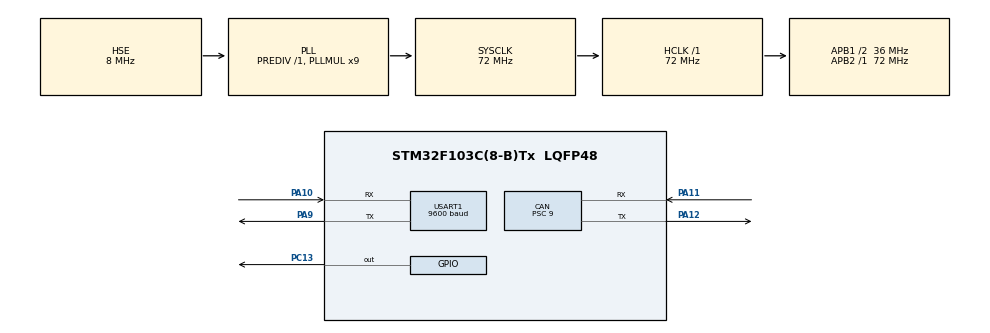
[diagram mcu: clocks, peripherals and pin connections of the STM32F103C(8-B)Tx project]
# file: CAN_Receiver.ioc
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CAN.BS1=CAN_BS1_6TQ
CAN.CalculateBaudRate=500000
CAN.CalculateTimeBit=2000
CAN.CalculateTimeQuantum=250.0
CAN.Prescaler=9
Mcu.Family=STM32F1
Mcu.Name=STM32F103C(8-B)Tx
Mcu.Package=LQFP48
NVIC.PriorityGroup=NVIC_PRIORITYGROUP_4
NVIC.USB_LP_CAN1_RX0_IRQn=true\:0\:0\:false\:false\:true\:true\:true\:true
PA10.Mode=Asynchronous
PA10.Signal=USART1_RX
PA11.Mode=CAN_Activate
PA11.Signal=CAN_RX
PA12.Mode=CAN_Activate
PA12.Signal=CAN_TX
PA9.Mode=Asynchronous
PA9.Signal=USART1_TX
PC13-TAMPER-RTC.Signal=GPIO_Output
PD0-OSC_IN.Mode=HSE-External-Oscillator
PD0-OSC_IN.Signal=RCC_OSC_IN
PD1-OSC_OUT.Mode=HSE-External-Oscillator
PD1-OSC_OUT.Signal=RCC_OSC_OUT
ProjectManager.HeapSize=0x200
ProjectManager.StackSize=0x400
ProjectManager.TargetToolchain=STM32CubeIDE
RCC.AHBFreq_Value=72000000
RCC.APB1CLKDivider=RCC_HCLK_DIV2
RCC.APB1Freq_Value=36000000
RCC.APB1TimFreq_Value=72000000
RCC.APB2Freq_Value=72000000
RCC.APB2TimFreq_Value=72000000
RCC.HCLKFreq_Value=72000000
RCC.PLLMUL=RCC_PLL_MUL9
RCC.PLLSourceVirtual=RCC_PLLSOURCE_HSE
RCC.SYSCLKFreq_VALUE=72000000
RCC.SYSCLKSource=RCC_SYSCLKSOURCE_PLLCLK
RCC.USBFreq_Value=72000000
USART1.BaudRate=9600
USART1.VirtualMode=VM_ASYNC
VP_SYS_VS_ND.Mode=No_Debug
board=custom

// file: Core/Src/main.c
/* USER CODE BEGIN Header */
/**
  ******************************************************************************
  * @file    main.c
  * @brief   CAN 接收端 (500kbps, IDLIST 过滤 0x100)
  * @date    2026-08-04
  *
  * @hardware  STM32F103C8T6 + SN65HVD230
  * @clock     HSE 8MHz → PLL ×9 → 72MHz, APB1 = 36MHz
  * @baudrate  500 kbps (Prescaler=9, BS1=6, BS2=1)
  * @filter    IDLIST, 仅接收标准 ID 0x100
  * @debug     USART1 115200-8-N-1
  *
  * @note      PA13/PA14 务必保持 Serial Wire 模式，否则 SWD 接口会被锁死
  ******************************************************************************
  */
/* USER CODE END Header */
#include "main.h"
#include "can.h"
#include "usart.h"
#include "gpio.h"
#include <stdio.h>

void SystemClock_Config(void);

int main(void)
{

  /* MCU Configuration--------------------------------------------------------*/

  /* Reset of all peripherals, Initializes the Flash interface and the Systick. */
  HAL_Init();

  /* Configure the system clock */
  SystemClock_Config();

  /* Initialize all configured peripherals */
  MX_GPIO_Init();
  MX_CAN_Init();
  MX_USART1_UART_Init();
  /* USER CODE BEGIN 2 */

  // 配置 CAN 过滤器：接收所有ID（全通）
  CAN_FilterTypeDef sFilterConfig;
  sFilterConfig.FilterBank = 0;
  sFilterConfig.FilterMode = CAN_FILTERMODE_IDMASK;
  sFilterConfig.FilterScale = CAN_FILTERSCALE_32BIT;
  sFilterConfig.FilterIdHigh = 0x0000;
  sFilterConfig.FilterIdLow = 0x0000;
  sFilterConfig.FilterMaskIdHigh = 0x0000;
  sFilterConfig.FilterMaskIdLow = 0x0000;
  sFilterConfig.FilterFIFOAssignment = CAN_RX_FIFO0;
  sFilterConfig.FilterActivation = ENABLE;
  if (HAL_CAN_ConfigFilter(&hcan, &sFilterConfig) != HAL_OK) {
      Error_Handler();
  }

  // 启动CAN外设
  if (HAL_CAN_Start(&hcan) != HAL_OK) {
      Error_Handler();
  }

  // 使能接收中断
  if (HAL_CAN_ActivateNotification(&hcan, CAN_IT_RX_FIFO0_MSG_PENDING) != HAL_OK) {
      Error_Handler();
  }

  // 串口首屏打印（验证串口活着）
  char startMsg[] = "CAN Receiver Ready\r\n";
  HAL_UART_Transmit(&huart1, (uint8_t*)startMsg, sizeof(startMsg)-1, 100);

  /* USER CODE END 2 */

  /* Infinite loop */
  while (1)
  {

    /* USER CODE BEGIN 3 */
    // 主循环什么都不做
  }
  /* USER CODE END 3 */
}

void SystemClock_Config(void)
{
  RCC_OscInitTypeDef RCC_OscInitStruct = {0};
  RCC_ClkInitTypeDef RCC_ClkInitStruct = {0};

  // 使用外部 HSE 晶振（8MHz）
  RCC_OscInitStruct.OscillatorType = RCC_OSCILLATORTYPE_HSE;
  RCC_OscInitStruct.HSEState = RCC_HSE_ON;
  RCC_OscInitStruct.HSEPredivValue = RCC_HSE_PREDIV_DIV1;
  RCC_OscInitStruct.HSIState = RCC_HSI_ON;
  RCC_OscInitStruct.PLL.PLLState = RCC_PLL_ON;
  RCC_OscInitStruct.PLL.PLLSource = RCC_PLLSOURCE_HSE;
  RCC_OscInitStruct.PLL.PLLMUL = RCC_PLL_MUL9;  // 8MHz * 9 = 72MHz
  if (HAL_RCC_OscConfig(&RCC_OscInitStruct) != HAL_OK)
  {
    Error_Handler();
  }

  RCC_ClkInitStruct.ClockType = RCC_CLOCKTYPE_HCLK | RCC_CLOCKTYPE_SYSCLK
                              | RCC_CLOCKTYPE_PCLK1 | RCC_CLOCKTYPE_PCLK2;
  RCC_ClkInitStruct.SYSCLKSource = RCC_SYSCLKSOURCE_PLLCLK;
  RCC_ClkInitStruct.AHBCLKDivider = RCC_SYSCLK_DIV1;
  RCC_ClkInitStruct.APB1CLKDivider = RCC_HCLK_DIV2;
  RCC_ClkInitStruct.APB2CLKDivider = RCC_HCLK_DIV1;

  if (HAL_RCC_ClockConfig(&RCC_ClkInitStruct, FLASH_LATENCY_2) != HAL_OK)
  {
    Error_Handler();
  }
}

/* USER CODE BEGIN 4 */

/**
  * @brief CAN接收回调函数
  */
void HAL_CAN_RxFifo0MsgPendingCallback(CAN_HandleTypeDef *hcan)
{
    CAN_RxHeaderTypeDef RxHeader;
    uint8_t RxData[8];

    HAL_CAN_GetRxMessage(hcan, CAN_RX_FIFO0, &RxHeader, RxData);

    HAL_GPIO_TogglePin(GPIOC, GPIO_PIN_13);

    char buf[64];
    int len = sprintf(buf, "ID:0x%03lX Data:%02X %02X %02X %02X %02X %02X %02X %02X\r\n",
                      (unsigned long)RxHeader.StdId,
                      RxData[0], RxData[1], RxData[2], RxData[3],
                      RxData[4], RxData[5], RxData[6], RxData[7]);
    HAL_UART_Transmit(&huart1, (uint8_t*)buf, len, 100);
}

/* USER CODE END 4 */

/**
  * @brief  Error Handler
  */
void Error_Handler(void)
{
  __disable_irq();
  while (1)
  {
  }
}
